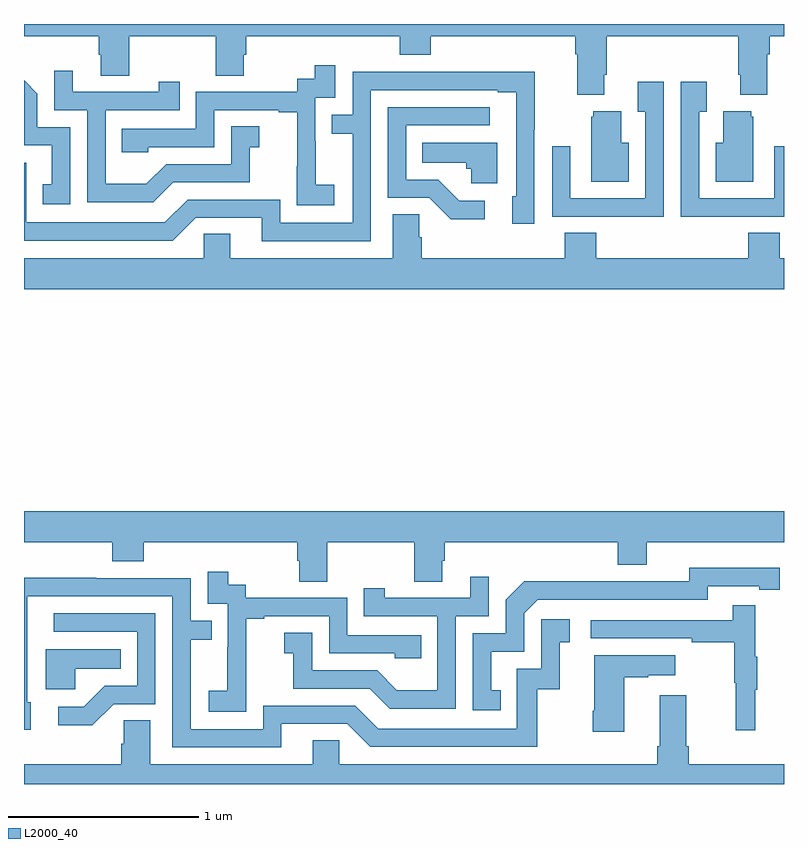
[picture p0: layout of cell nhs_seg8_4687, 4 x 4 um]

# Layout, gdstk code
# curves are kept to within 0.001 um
import gdstk
lib = gdstk.Library(unit=1e-6, precision=1e-09)
def P(c, l, *ps):  # polygons
    for p in ps: c.add(gdstk.Polygon(p, *l))
L2000_40 = (2000, 40)

nhs_seg8_4687 = lib.new_cell('nhs_seg8_4687')
P(nhs_seg8_4687, L2000_40, [(395,1113.836),(395.393,1113.836),(395.393,1113.738),(395.405,1113.738),(395.405,1113.628),(395.553,1113.628),(395.553,1113.836),(396.01,1113.836),(396.01,1113.628),(396.157,1113.628),(396.157,1113.738),(396.17,1113.738),(396.17,1113.836),(396.977,1113.836),(396.977,1113.737),(397.142,1113.737),(397.142,1113.836),(397.901,1113.836),(397.901,1113.74),(397.913,1113.74),(397.913,1113.527),(398.053,1113.527),(398.053,1113.634),(398.066,1113.634),(398.066,1113.836),(398.759,1113.836),(398.759,1113.634),(398.771,1113.634),(398.771,1113.527),(398.911,1113.527),(398.911,1113.74),(398.924,1113.74),(398.924,1113.836),(399,1113.836),(399,1113.9),(395,1113.9)],
  [(396.634,1113.055),(396.536,1113.055),(396.536,1113.284),(396.534,1113.284),(396.534,1113.513),(396.639,1113.513),(396.639,1113.682),(396.531,1113.682),(396.531,1113.612),(396.438,1113.612),(396.438,1113.543),(395.904,1113.543),(395.904,1113.348),(395.515,1113.348),(395.515,1113.225),(395.655,1113.225),(395.655,1113.252),(396,1113.252),(396,1113.447),(396.341,1113.447),(396.341,1113.435),(396.437,1113.435),(396.437,1113.151),(396.436,1113.151),(396.436,1112.945),(396.634,1112.945)],
  [(395.785,1113.066),(396.189,1113.066),(396.189,1113.251),(396.238,1113.251),(396.238,1113.361),(396.09,1113.361),(396.09,1113.162),(395.748,1113.162),(395.644,1113.058),(395.43,1113.058),(395.43,1113.447),(395.819,1113.447),(395.819,1113.595),(395.708,1113.595),(395.708,1113.543),(395.257,1113.543),(395.257,1113.655),(395.16,1113.655),(395.16,1113.447),(395.334,1113.447),(395.334,1112.961),(395.68,1112.961)],
  [(396.825,1113.552),(397.493,1113.552),(397.493,1113.54),(397.59,1113.54),(397.59,1112.994),(397.571,1112.994),(397.571,1112.85),(397.686,1112.85),(397.686,1113.343),(397.689,1113.343),(397.689,1113.65),(397.225,1113.65),(397.225,1113.648),(396.729,1113.648),(396.729,1113.423),(396.619,1113.423),(396.619,1113.322),(396.729,1113.322),(396.729,1112.853),(396.348,1112.853),(396.348,1112.976),(395.862,1112.976),(395.742,1112.856),(395.013,1112.856),(395.013,1113.171),(395,1113.171),(395,1112.76),(395.784,1112.76),(395.904,1112.88),(396.251,1112.88),(396.251,1112.757),(396.825,1112.757)],
  [(395.244,1113.357),(395.07,1113.357),(395.07,1113.534),(395,1113.604),(395,1113.261),(395.147,1113.261),(395.147,1113.057),(395.098,1113.057),(395.098,1112.952),(395.244,1112.952)],
  [(398.367,1113.595),(398.231,1113.595),(398.231,1113.439),(398.271,1113.439),(398.271,1112.982),(397.875,1112.982),(397.875,1113.256),(397.779,1113.256),(397.779,1112.886),(398.095,1112.886),(398.095,1112.885),(398.367,1112.885)],
  [(398.729,1112.886),(399,1112.886),(399,1113.256),(398.949,1113.256),(398.949,1112.982),(398.553,1112.982),(398.553,1113.439),(398.593,1113.439),(398.593,1113.595),(398.457,1113.595),(398.457,1112.885),(398.729,1112.885)],
  [(397.426,1112.97),(397.291,1112.97),(397.18,1113.081),(397.011,1113.081),(397.011,1113.366),(397.45,1113.366),(397.45,1113.462),(396.915,1113.462),(396.915,1112.985),(397.134,1112.985),(397.247,1112.873),(397.426,1112.873)],
  [(398.182,1113.274),(398.143,1113.274),(398.143,1113.442),(397.997,1113.442),(397.997,1113.411),(397.985,1113.411),(397.985,1113.071),(398.182,1113.071)],
  [(398.839,1113.411),(398.828,1113.411),(398.828,1113.442),(398.681,1113.442),(398.681,1113.274),(398.642,1113.274),(398.642,1113.071),(398.839,1113.071)],
  [(397.492,1113.274),(397.096,1113.274),(397.096,1113.17),(397.327,1113.17),(397.327,1113.138),(397.353,1113.138),(397.353,1113.062),(397.492,1113.062)],
  [(399,1112.668),(398.978,1112.668),(398.978,1112.801),(398.813,1112.801),(398.813,1112.668),(398.012,1112.668),(398.012,1112.801),(397.847,1112.801),(397.847,1112.668),(397.094,1112.668),(397.094,1112.777),(397.08,1112.777),(397.08,1112.9),(396.941,1112.9),(396.941,1112.668),(396.085,1112.668),(396.085,1112.795),(395.946,1112.795),(395.946,1112.668),(395,1112.668),(395,1112.504),(399,1112.504)],
  [(396.597,1111.172),(397.054,1111.172),(397.054,1110.964),(397.201,1110.964),(397.201,1111.074),(397.214,1111.074),(397.214,1111.172),(398.126,1111.172),(398.126,1111.055),(398.278,1111.055),(398.278,1111.172),(399,1111.172),(399,1111.336),(395,1111.336),(395,1111.172),(395.465,1111.172),(395.465,1111.073),(395.63,1111.073),(395.63,1111.172),(396.437,1111.172),(396.437,1111.074),(396.449,1111.074),(396.449,1110.964),(396.597,1110.964)],
  [(397.508,1110.393),(397.459,1110.393),(397.459,1110.597),(397.632,1110.597),(397.632,1110.798),(397.704,1110.87),(398.598,1110.87),(398.598,1110.942),(398.87,1110.942),(398.87,1110.922),(398.978,1110.922),(398.978,1111.038),(398.502,1111.039),(398.502,1110.966),(398.042,1110.966),(398.042,1110.968),(397.634,1110.968),(397.536,1110.87),(397.536,1110.693),(397.362,1110.693),(397.362,1110.288),(397.508,1110.288)],
  [(396.171,1110.487),(396.17,1110.487),(396.17,1110.771),(396.265,1110.771),(396.265,1110.783),(396.606,1110.783),(396.606,1110.588),(396.951,1110.588),(396.951,1110.561),(397.091,1110.561),(397.091,1110.684),(396.702,1110.684),(396.702,1110.879),(396.168,1110.879),(396.168,1110.948),(396.076,1110.948),(396.076,1111.018),(395.967,1111.018),(395.967,1110.849),(396.072,1110.849),(396.072,1110.62),(396.071,1110.62),(396.071,1110.391),(395.973,1110.391),(395.973,1110.281),(396.171,1110.281)],
  [(397.272,1110.783),(397.446,1110.783),(397.446,1110.991),(397.349,1110.991),(397.349,1110.879),(396.898,1110.879),(396.898,1110.931),(396.787,1110.931),(396.787,1110.783),(397.176,1110.783),(397.176,1110.394),(396.962,1110.394),(396.858,1110.498),(396.516,1110.498),(396.516,1110.697),(396.369,1110.697),(396.369,1110.587),(396.418,1110.587),(396.418,1110.402),(396.821,1110.402),(396.926,1110.297),(397.272,1110.297)],
  [(396.355,1110.216),(396.702,1110.216),(396.822,1110.096),(397.702,1110.096),(397.702,1110.399),(397.82,1110.399),(397.82,1110.645),(397.873,1110.645),(397.873,1110.766),(397.722,1110.766),(397.722,1110.507),(397.593,1110.507),(397.593,1110.192),(396.864,1110.192),(396.744,1110.312),(396.258,1110.312),(396.258,1110.189),(395.877,1110.189),(395.877,1110.658),(395.987,1110.658),(395.987,1110.759),(395.877,1110.759),(395.877,1110.984),(395.381,1110.984),(395.381,1110.986),(395,1110.986),(395,1110.186),(395.035,1110.186),(395.035,1110.33),(395.016,1110.33),(395.017,1110.888),(395.781,1110.888),(395.781,1110.093),(396.355,1110.093)],
  [(398.849,1110.395),(398.86,1110.395),(398.86,1110.569),(398.849,1110.569),(398.849,1110.841),(398.731,1110.841),(398.731,1110.762),(397.983,1110.762),(397.983,1110.666),(398.515,1110.666),(398.515,1110.646),(398.739,1110.646),(398.739,1110.432),(398.746,1110.432),(398.746,1110.183),(398.849,1110.183)],
  [(395.472,1110.321),(395.691,1110.321),(395.691,1110.798),(395.157,1110.798),(395.157,1110.702),(395.595,1110.702),(395.595,1110.417),(395.426,1110.417),(395.315,1110.306),(395.181,1110.306),(395.181,1110.209),(395.359,1110.209)],
  [(395.271,1110.506),(395.51,1110.506),(395.51,1110.61),(395.114,1110.61),(395.114,1110.398),(395.271,1110.398)],
  [(398.158,1110.463),(398.285,1110.463),(398.285,1110.473),(398.428,1110.473),(398.428,1110.577),(398,1110.577),(398,1110.286),(397.993,1110.286),(397.993,1110.174),(398.158,1110.174)],
  [(399,1110.004),(398.498,1110.004),(398.498,1110.1),(398.485,1110.1),(398.485,1110.367),(398.345,1110.367),(398.345,1110.1),(398.333,1110.1),(398.333,1110.004),(396.66,1110.004),(396.66,1110.131),(396.521,1110.131),(396.521,1110.004),(395.665,1110.004),(395.665,1110.236),(395.526,1110.236),(395.526,1110.113),(395.513,1110.113),(395.513,1110.004),(395,1110.004),(395,1109.9),(399,1109.9)])

lib.write_gds('nhs_seg8_4687.gds')
